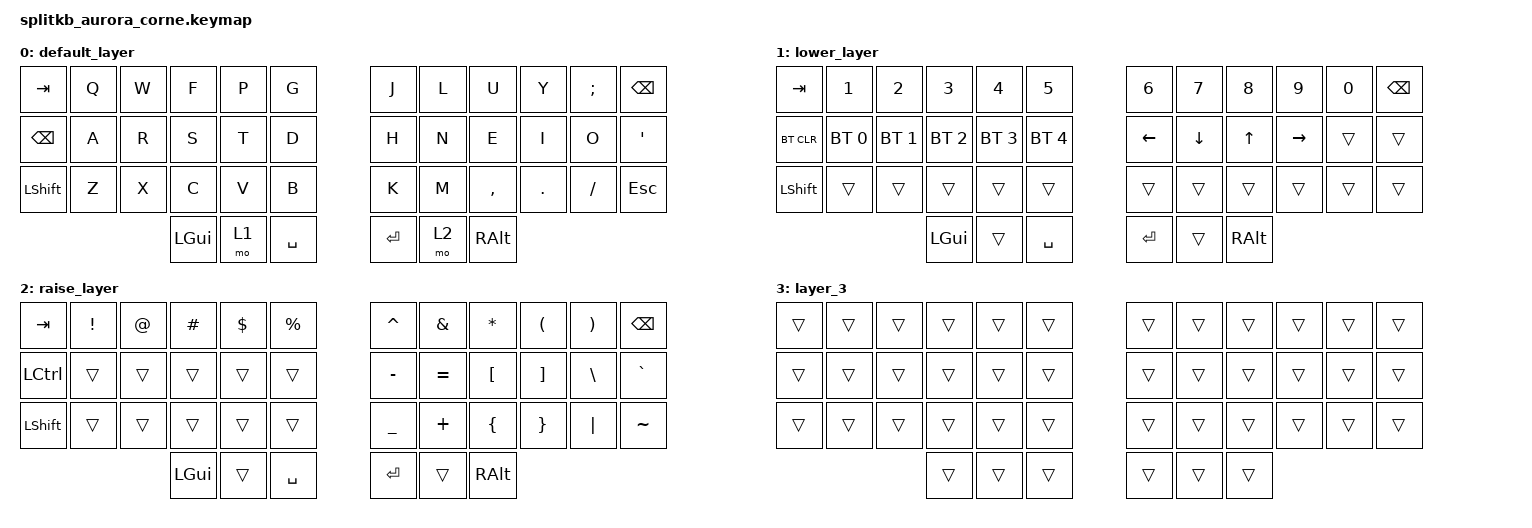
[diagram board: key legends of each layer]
/*
 * Copyright (c) 2020 The ZMK Contributors
 *
 * SPDX-License-Identifier: MIT
 */

#include <behaviors.dtsi>
#include <dt-bindings/zmk/bt.h>
#include <dt-bindings/zmk/keys.h>

/ {
    keymap {
        compatible = "zmk,keymap";

        default_layer {
            // -----------------------------------------------------------------------------------------
            // |  TAB |  Q  |  W  |  E  |  R  |  T  |   |  Y  |  U   |  I  |  O  |  P  | BSPC |
            // | CTRL |  A  |  S  |  D  |  F  |  G  |   |  H  |  J   |  K  |  L  |  ;  |  '   |
            // | SHFT |  Z  |  X  |  C  |  V  |  B  |   |  N  |  M   |  ,  |  .  |  /  | ESC  |
            //                    | GUI | LWR | SPC |   | ENT | RSE  | ALT |

            bindings = <
&kp TAB        &kp Q  &kp W  &kp F     &kp P  &kp G        &kp J    &kp L  &kp U      &kp Y    &kp SEMICOLON  &kp BSPC
&kp BACKSPACE  &kp A  &kp R  &kp S     &kp T  &kp D        &kp H    &kp N  &kp E      &kp I    &kp O          &kp SQT
&kp LSHFT      &kp Z  &kp X  &kp C     &kp V  &kp B        &kp K    &kp M  &kp COMMA  &kp DOT  &kp FSLH       &kp ESC
                             &kp LGUI  &mo 1  &kp SPACE    &kp RET  &mo 2  &kp RALT
            >;
        };

        lower_layer {
            // -----------------------------------------------------------------------------------------
            // |  TAB |  1  |  2  |  3  |  4  |  5  |   |  6  |  7  |  8  |  9  |  0  | BSPC |
            // | BTCLR| BT1 | BT2 | BT3 | BT4 | BT5 |   | LFT | DWN |  UP | RGT |     |      |
            // | SHFT |     |     |     |     |     |   |     |     |     |     |     |      |
            //                    | GUI |     | SPC |   | ENT |     | ALT |

            bindings = <
&kp TAB     &kp N1        &kp N2        &kp N3        &kp N4        &kp N5          &kp N6    &kp N7    &kp N8    &kp N9     &kp N0  &kp BSPC
&bt BT_CLR  &bt BT_SEL 0  &bt BT_SEL 1  &bt BT_SEL 2  &bt BT_SEL 3  &bt BT_SEL 4    &kp LEFT  &kp DOWN  &kp UP    &kp RIGHT  &trans  &trans
&kp LSHFT   &trans        &trans        &trans        &trans        &trans          &trans    &trans    &trans    &trans     &trans  &trans
                                        &kp LGUI      &trans        &kp SPACE       &kp RET   &trans    &kp RALT
            >;
        };

        raise_layer {
            // -----------------------------------------------------------------------------------------
            // |  TAB |  !  |  @  |  #  |  $  |  %  |   |  ^  |  &  |  *  |  (  |  )  | BSPC |
            // | CTRL |     |     |     |     |     |   |  -  |  =  |  [  |  ]  |  \  |  `   |
            // | SHFT |     |     |     |     |     |   |  _  |  +  |  {  |  }  | "|" |  ~   |
            //                    | GUI |     | SPC |   | ENT |     | ALT |

            bindings = <
&kp TAB    &kp EXCL  &kp AT  &kp HASH  &kp DLLR  &kp PRCNT    &kp CARET  &kp AMPS   &kp ASTRK  &kp LPAR  &kp RPAR  &kp BSPC
&kp LCTRL  &trans    &trans  &trans    &trans    &trans       &kp MINUS  &kp EQUAL  &kp LBKT   &kp RBKT  &kp BSLH  &kp GRAVE
&kp LSHFT  &trans    &trans  &trans    &trans    &trans       &kp UNDER  &kp PLUS   &kp LBRC   &kp RBRC  &kp PIPE  &kp TILDE
                             &kp LGUI  &trans    &kp SPACE    &kp RET    &trans     &kp RALT
            >;
        };

        layer_3 {
            bindings = <
&trans  &trans  &trans  &trans  &trans  &trans    &trans  &trans  &trans  &trans  &trans  &trans
&trans  &trans  &trans  &trans  &trans  &trans    &trans  &trans  &trans  &trans  &trans  &trans
&trans  &trans  &trans  &trans  &trans  &trans    &trans  &trans  &trans  &trans  &trans  &trans
                        &trans  &trans  &trans    &trans  &trans  &trans
            >;
        };
    };
};
